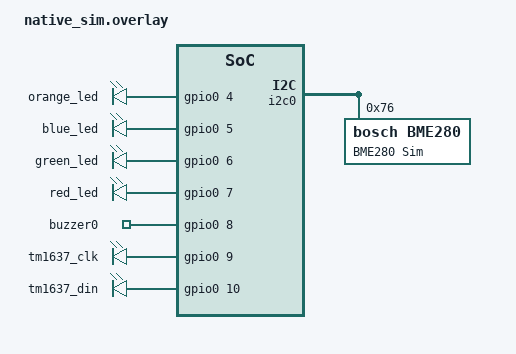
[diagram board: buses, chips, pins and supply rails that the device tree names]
#include <zephyr/dt-bindings/input/input-event-codes.h>

/ {
	aliases {
		buzzer = &buzzer0;
		led0 = &orange_led;
		led1 = &blue_led;
		led2 = &green_led;
		led3 = &red_led;
	};

	leds: leds {
		compatible = "gpio-leds";

		orange_led: orange_led {
			gpios = <&gpio0 4 GPIO_ACTIVE_HIGH>;
            status = "okay";
		};

		blue_led: blue_led {
			gpios = <&gpio0 5 GPIO_ACTIVE_HIGH>;
            status = "okay";
		};

		green_led: green_led {
			gpios = <&gpio0 6 GPIO_ACTIVE_HIGH>;
            status = "okay";
		};

		red_led: red_led {
			gpios = <&gpio0 7 GPIO_ACTIVE_HIGH>;
            status = "okay";
		};

		buzzer0: buzzer0 {
			gpios = <&gpio0 8 GPIO_ACTIVE_HIGH>;
            status = "okay";
		};
        tm1637_clk: tm1637_clk {
            gpios = <&gpio0 9 GPIO_ACTIVE_HIGH>;
            status = "okay";
        };

        tm1637_din: tm1637_din {
            gpios = <&gpio0 10 GPIO_ACTIVE_HIGH>;
            status = "okay";
        };
	};
};

&i2c0 {
    bme280@76 {
        compatible = "bosch,bme280";
        reg = <0x76>;
        label = "BME280 Sim";
        status = "okay";
    };
};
